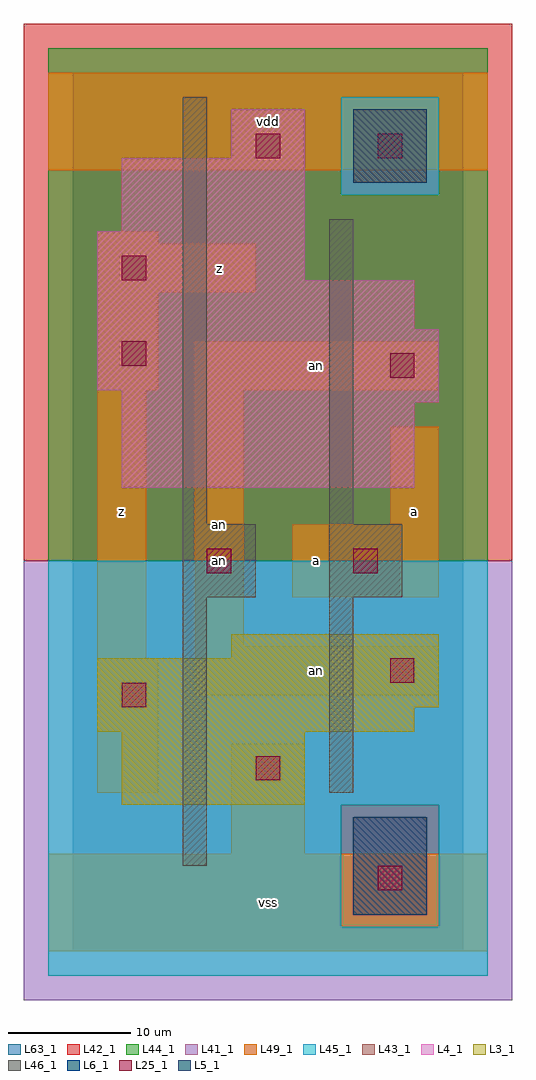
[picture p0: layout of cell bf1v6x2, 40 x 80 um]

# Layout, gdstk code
import gdstk
lib = gdstk.Library(unit=1e-6, precision=1e-09)
def R(c, l, rs):  # rectangles x0, y0, x1, y1
    for r in rs: c.add(gdstk.rectangle(r[:2], r[2:], *l))
L3_1 = (3, 1)
L4_1 = (4, 1)
L5_1 = (5, 1)
L6_1 = (6, 1)
L25_1 = (25, 1)
L41_1 = (41, 1)
L42_1 = (42, 1)
L43_1 = (43, 1)
L44_1 = (44, 1)
L45_1 = (45, 1)
L46_1 = (46, 1)
L49_1 = (49, 1)
L63_1 = (63, 1)

bf1v6x2 = lib.new_cell('bf1v6x2')
R(bf1v6x2, L3_1, [(4,12,19,18), (2,18,28,20), (2,20,30,24), (13,24,30,26)])
R(bf1v6x2, L4_1, [(4,38,28,45), (4,45,30,46), (2,46,30,51), (2,51,28,55), (2,55,19,59), (4,59,19,65), (13,65,19,69)])
R(bf1v6x2, L5_1, [(23,63,29,69)])
R(bf1v6x2, L6_1, [(23,3,29,11), (23,3,29,11)])
R(bf1v6x2, L25_1, [(25,5,27,7), (15,14,17,16), (4,20,6,22), (26,22,28,24), (11,31,13,33), (23,31,25,33), (26,47,28,49), (4,48,6,50), (4,55,6,57), (15,65,17,67), (25,65,27,67)])
R(bf1v6x2, L41_1, [(-4,-4,36,32)])
R(bf1v6x2, L42_1, [(-4,32,36,76)])
R(bf1v6x2, L43_1, [(23,3,29,11), (4,12,19,18), (2,18,28,20), (2,20,30,24), (13,24,30,26), (4,38,28,45), (4,45,30,46), (2,46,30,51), (2,51,28,55), (2,55,19,59), (4,59,19,65), (23,63,29,69), (13,65,19,69)])
R(bf1v6x2, L44_1, [(22,2,30,12), (-2,32,34,62), (-2,62,22,70), (30,62,34,70), (-2,70,34,74)])
R(bf1v6x2, L45_1, [(-2,-2,34,2), (-2,2,22,12), (30,2,34,12), (-2,12,34,32), (22,62,30,70)])
R(bf1v6x2, L46_1, [(9,7,11,29), (21,13,23,29), (9,29,15,35), (21,29,27,35), (9,35,11,70), (21,35,23,60)])
R(bf1v6x2, L49_1, [(-2,0,34,8), (13,8,19,17), (2,13,7,24), (10,21,30,25), (2,24,6,46), (10,25,14,46), (18,29,30,35), (26,35,30,43), (2,46,7,54), (10,46,30,50), (2,54,15,58), (2,58,7,59), (-2,64,34,72)])
R(bf1v6x2, L63_1, [(0,0,32,72)])
bf1v6x2.add(gdstk.Label('an', (12,32), layer=49, texttype=1))
bf1v6x2.add(gdstk.Label('z', (4,36), layer=49, texttype=1))
bf1v6x2.add(gdstk.Label('an', (12,35), layer=49, texttype=1))
bf1v6x2.add(gdstk.Label('z', (12,56), layer=49, texttype=1))
bf1v6x2.add(gdstk.Label('vss', (16,4), layer=49, texttype=1))
bf1v6x2.add(gdstk.Label('a', (20,32), layer=49, texttype=1))
bf1v6x2.add(gdstk.Label('vdd', (16,68), layer=49, texttype=1))
bf1v6x2.add(gdstk.Label('an', (20,23), layer=49, texttype=1))
bf1v6x2.add(gdstk.Label('a', (28,36), layer=49, texttype=1))
bf1v6x2.add(gdstk.Label('an', (20,48), layer=49, texttype=1))

lib.write_gds('bf1v6x2.gds')
